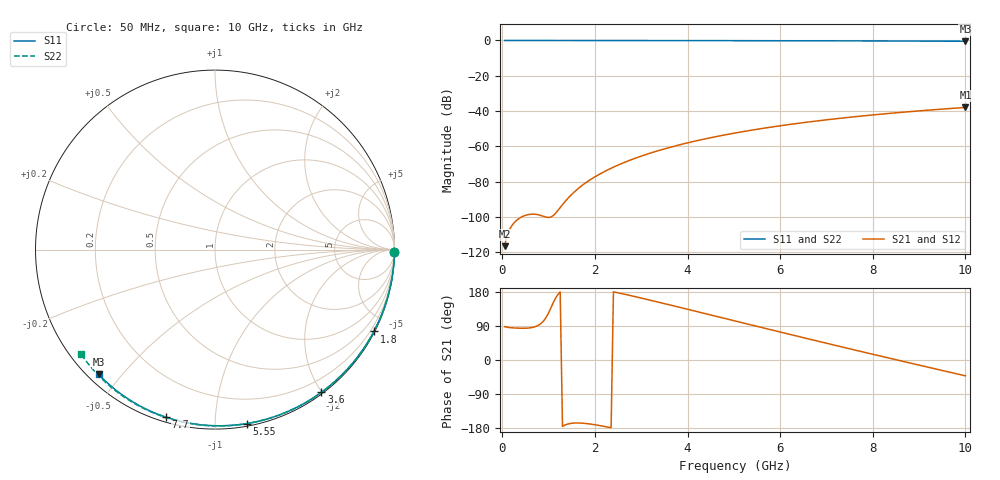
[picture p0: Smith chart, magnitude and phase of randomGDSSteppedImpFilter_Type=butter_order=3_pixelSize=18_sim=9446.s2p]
! freq	dB(S11)	phase(S11)	dB(S12)	phase(S12)
!  dB(S21)	phase(S21)	dB(S22)	phase(S22)
!S-par simulation data
#  GHz  S  DB  R 50
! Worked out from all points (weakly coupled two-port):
!   200 points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, 50 MHz to 10 GHz, reference 50 ohm
!   highest |S21| = -37.98 dB at 10 GHz (marker M1); lowest = -116.6 dB at 50 MHz (marker M2)
!   lowest |S11| = -0.4 dB at 10 GHz (marker M3), VSWR 39.34, Z = 1.51 - j21.7 ohm
!   |S11| at or under -10 dB: nowhere
!   |S22| runs from -0.5 to 0.0 dB; largest |S21 - S12| = 0
!   S11 on the Smith chart (normalised r, x): 50 MHz: open; 1.8 GHz: 0.04, -4.12; 3.6 GHz: 0.02, -1.99; 5.55 GHz: 0.02, -1.20; 7.7 GHz: 0.02, -0.75; 10 GHz: 0.03, -0.43
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0.05  -0.00 -0.8  -116.62 88.0  -116.62 88.0  -0.00 -0.8
0.45  -0.01 -6.9  -99.64 83.7  -99.64 83.7  -0.01 -7.4
0.9  -0.02 -13.8  -99.78 104.3  -99.78 104.3  -0.02 -14.7
1.75  -0.03 -26.5  -81.67 -166.9  -81.67 -166.9  -0.04 -28.3
1.8  -0.03 -27.3  -80.71 -167.5  -80.71 -167.5  -0.04 -29.1
1.85  -0.04 -28.0  -79.81 -168.2  -79.81 -168.2  -0.04 -29.9
2  -0.04 -30.2  -77.31 -170.8  -77.31 -170.8  -0.04 -32.3
2.15  -0.04 -32.4  -75.09 -174.0  -75.09 -174.0  -0.04 -34.6
2.35  -0.05 -35.4  -72.44 -178.8  -72.44 -178.8  -0.05 -37.7
2.55  -0.05 -38.3  -70.07 176.0  -70.07 176.0  -0.05 -40.8
2.95  -0.06 -44.1  -66.02 164.9  -66.02 164.9  -0.06 -47.0
3.4  -0.07 -50.5  -62.23 151.8  -62.23 151.8  -0.07 -53.8
3.6  -0.07 -53.3  -60.74 145.9  -60.74 145.9  -0.08 -56.8
4.3  -0.09 -63.0  -56.25 124.9  -56.25 124.9  -0.09 -67.1
5.05  -0.11 -73.0  -52.35 102.3  -52.35 102.3  -0.12 -77.8
5.55  -0.13 -79.6  -50.14 87.3  -50.14 87.3  -0.14 -84.7
6.1  -0.15 -86.6  -47.99 70.8  -47.99 70.8  -0.16 -92.2
6.7  -0.18 -94.1  -45.93 53.0  -45.93 53.0  -0.19 -100.2
7.7  -0.24 -106.3  -42.99 23.8  -42.99 23.8  -0.26 -113.1
8.35  -0.29 -114.0  -41.36 5.0  -41.36 5.0  -0.31 -121.3
9.2  -0.36 -123.9  -39.50 -19.2  -39.50 -19.2  -0.39 -132.0
10  -0.44 -133.1  -37.98 -41.8  -37.98 -41.8  -0.48 -142.0
